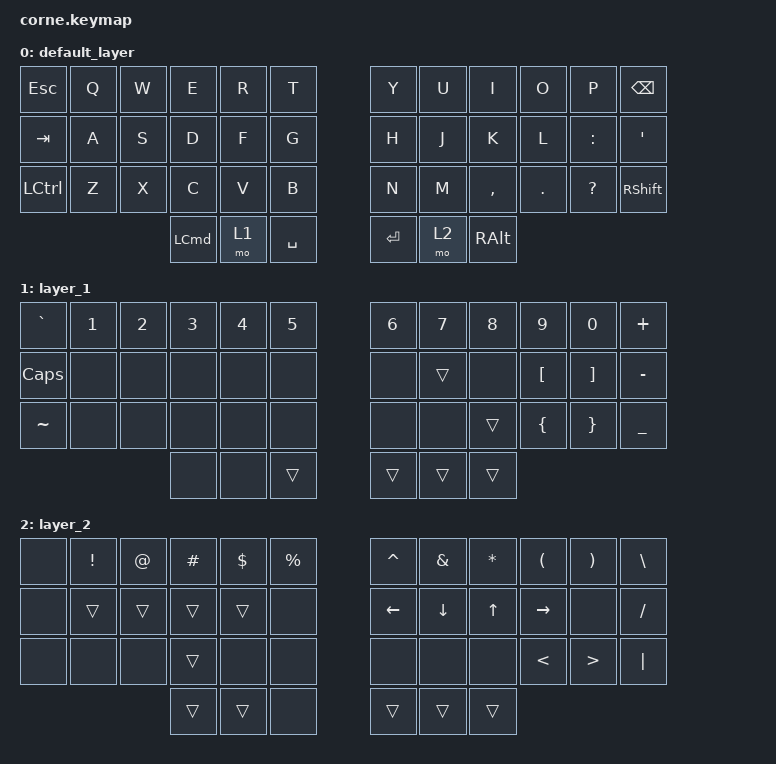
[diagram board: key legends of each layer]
/*
 * =========================================================================
 * || YOUR CRONE KEYBOARD GUIDE & CONFIGURATION                          ||
 * =========================================================================
 *
 * WELCOME! This file controls your entire keyboard layout. You can edit it
 * directly. After you commit a change, a new firmware is automatically
 * built in your repository's "Actions" tab.
 *
 * --- YOUR LAYERS ---
 * Your keyboard has multiple layers. The base layer is for normal typing.
 * You access the other layers by HOLDING down specific keys.
 *
 *  - LAYER 0 (Default): Standard QWERTY typing.
 *  - LAYER 1 (Numbers/Nav): Activated by HOLDING the thumb key next to LEFT CMD.
 *  - LAYER 2 (Symbols/Media): Activated by HOLDING the thumb key next to LEFT ALT.
 *
 * --- YOUR CUSTOMIZATIONS (What's New) ---
 *
 *  1. RIGHT CTRL ADDED:
 *     The right thumb key that used to be Right Option has been changed
 *     to RIGHT CONTROL (&kp RCTRL) for better ergonomics.
 *
 *  2. MARKDOWN BACKTICK (`):
 *     The backtick key is on LAYER 2. Hold the Layer 2 key and press
 *     the single quote (') key to type a backtick.
 *
 * --- QUICK KEYCODE REFERENCE ---
 *
 *  &kp       - "Key Press". Standard key (e.g., &kp A, &kp LCTRL).
 *  &mo       - "Momentary Layer". Hold to activate a layer (e.g., &mo 1).
 *  &trans    - "Transparent". Lets the key from the layer below show through.
 *  &bt       - "Bluetooth". Controls connections (e.g., &bt BT_CLR).
 *  &none     - "None". Makes a key do nothing.
 *
 * Happy typing!
 */

#include <behaviors.dtsi>
#include <dt-bindings/zmk/keys.h>

/ {
    keymap {
        compatible = "zmk,keymap";

        /*
         * LAYER 0: Default Typing Layer
         * macOS handles the English/Russian character switching.
         */

        default_layer {
            bindings = <
&kp ESC           &kp Q  &kp W  &kp E             &kp R  &kp T        &kp Y      &kp U  &kp I          &kp O    &kp P      &kp BACKSPACE
&kp TAB           &kp A  &kp S  &kp D             &kp F  &kp G        &kp H      &kp J  &kp K          &kp L    &kp COLON  &kp SINGLE_QUOTE
&kp LEFT_CONTROL  &kp Z  &kp X  &kp C             &kp V  &kp B        &kp N      &kp M  &kp COMMA      &kp DOT  &kp QMARK  &kp RIGHT_SHIFT
                                &kp LEFT_COMMAND  &mo 1  &kp SPACE    &kp ENTER  &mo 2  &kp RIGHT_ALT
            >;
        };

        /*
         * LAYER 1: Numbers, F-Keys, Bluetooth, Nav
         * Accessed by holding the thumb key next to Left CMD.
         */

        layer_1 {
            bindings = <
&kp GRAVE     &kp N1  &kp N2  &kp N3  &kp N4  &kp N5    &kp NUMBER_6  &kp N7  &kp N8  &kp N9            &kp N0             &kp PLUS
&kp CAPSLOCK  &none   &none   &none   &none   &none     &none         &trans  &none   &kp LEFT_BRACKET  &kp RIGHT_BRACKET  &kp MINUS
&kp TILDE     &none   &none   &none   &none   &none     &none         &none   &trans  &kp LEFT_BRACE    &kp RIGHT_BRACE    &kp UNDER
                              &none   &none   &trans    &trans        &trans  &trans
            >;
        };

        /*
         * LAYER 2: Symbols and Media Controls
         * Accessed by holding the thumb key next to Left ALT/Option.
         */

        layer_2 {
            bindings = <
&none  &kp EXCL  &kp AT  &kp HASH  &kp DLLR  &kp PRCNT    &kp CARET  &kp AMPS  &kp ASTERISK  &kp LEFT_PARENTHESIS  &kp RIGHT_PARENTHESIS  &kp BACKSLASH
&none  &trans    &trans  &trans    &trans    &none        &kp LEFT   &kp DOWN  &kp UP_ARROW  &kp RIGHT             &none                  &kp SLASH
&none  &none     &none   &trans    &none     &none        &none      &none     &none         &kp LESS_THAN         &kp GREATER_THAN       &kp PIPE
                         &trans    &trans    &none        &trans     &trans    &trans
            >;
        };
    };
};
